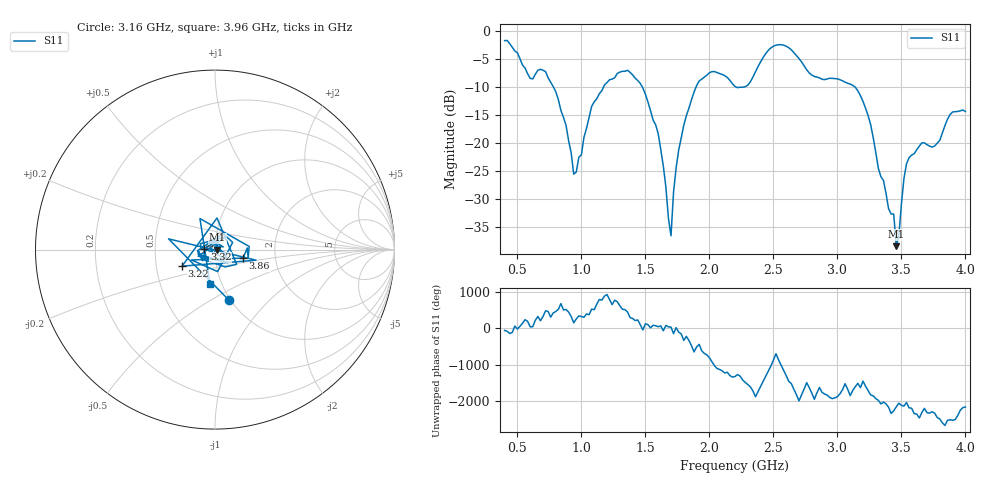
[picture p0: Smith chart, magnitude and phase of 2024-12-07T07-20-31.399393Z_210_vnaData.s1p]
!Created with skrf (http://scikit-rf.org).
# Hz S RI R 50.0
!freq ReS11 ImS11
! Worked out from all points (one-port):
!   181 points, 400 MHz to 4 GHz, reference 50 ohm
!   lowest |S11| = -38.4 dB at 3.46 GHz (marker M1), VSWR 1.02, Z = 51.2 - j0.0591 ohm
!   |S11| at or under -10 dB: 782.1 MHz to 1.172 GHz (390.2 MHz wide, 39.9 % of centre); 1.477 GHz to 1.895 GHz (418.7 MHz wide, 24.8 % of centre); 3.14 GHz to end of sweep (the widest 3 of 4)
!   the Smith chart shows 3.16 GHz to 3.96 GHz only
!   S11 on the Smith chart (normalised r, x): 3.16 GHz: 0.98, -0.61; 3.22 GHz: 0.68, -0.13; 3.32 GHz: 0.89, +0.01; 3.86 GHz: 1.36, -0.13; 3.96 GHz: 0.88, -0.35
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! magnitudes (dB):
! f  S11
! 400 MHz  -1.7
! 600 MHz  -8.4
! 720 MHz  -7.2
! 860 MHz  -15.4
! 940 MHz  -25.5
! 1.08 GHz  -13.4
! 1.3 GHz  -7.3
! 1.46 GHz  -9.3
! 1.58 GHz  -16.7
! 1.64 GHz  -24.1
! 1.7 GHz  -36.5
! 1.72 GHz  -28.7
! 1.76 GHz  -21.2
! 1.92 GHz  -8.9
! 2.2 GHz  -9.9
! 2.5 GHz  -2.7
! 2.66 GHz  -3.8
! 3.1 GHz  -9.4
! 3.16 GHz  -10.7
! 3.22 GHz  -13.8
! 3.32 GHz  -24.5
! 3.44 GHz  -32.6
! 3.46 GHz  -38.4
! 3.52 GHz  -26.3
! 3.56 GHz  -22.6
! 3.86 GHz  -15.7
! 3.96 GHz  -14.2
! 4 GHz  -14.3
